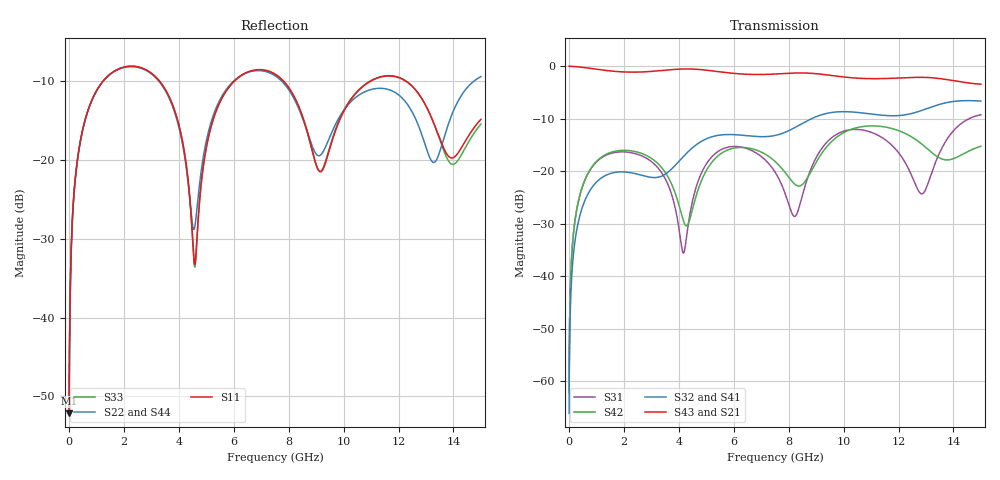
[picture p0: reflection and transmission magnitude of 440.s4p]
! Created with skrf 1.8.0 (http://scikit-rf.org).
# GHz S RI R 50.0
!freq ReS11 ImS11 ReS12 ImS12 ReS13 ImS13
! ReS14 ImS14
! ReS21 ImS21 ReS22 ImS22 ReS23 ImS23
! ReS24 ImS24
! ReS31 ImS31 ReS32 ImS32 ReS33 ImS33
! ReS34 ImS34
! ReS41 ImS41 ReS42 ImS42 ReS43 ImS43
! ReS44 ImS44
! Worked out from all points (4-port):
!   2499 points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, 5 MHz to 15 GHz, reference 50 ohm
!   strongest paths, dB at 5 MHz, 3.476 GHz, 7.19 GHz, 11.1 GHz, 15 GHz:
!     S43: 0.0, -0.8, -1.6, -2.4, -3.4
!     S21: 0.0, -0.8, -1.6, -2.4, -3.4
!     S32: -66.1, -20.7, -13.4, -9.2, -6.7
!     S41: -66.1, -20.7, -13.4, -9.2, -6.7
!     S42: -62.1, -20.0, -16.9, -11.4, -15.3
!     S31: -62.1, -21.2, -18.1, -12.8, -9.3
!   lowest |S11| = -52.2 dB at 5 MHz (marker M1), VSWR 1.00, Z = 50.2 + j0.15 ohm
!   |S11| at or under -10 dB: 3.305 GHz to 6.009 GHz (2.704 GHz wide, 58.1 % of centre); 7.824 GHz to 10.97 GHz (3.147 GHz wide, 33.5 % of centre); 12.28 GHz to end of sweep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
0.005  0.00196 0.00149  0.998 -0.00382  9.95e-05 0.000776  -9.67e-05 -0.000488
       0.998 -0.00382  0.00196 0.00149  -9.67e-05 -0.000488  9.97e-05 0.000776
       9.95e-05 0.000776  -9.67e-05 -0.000488  0.00196 0.00149  0.998 -0.00382
       -9.67e-05 -0.000488  9.97e-05 0.000776  0.998 -0.00382  0.00196 0.00149
0.3126303  0.0327 0.0964  0.9552 -0.2358  0.0148 0.0451  -0.0127 -0.0276
           0.9552 -0.2358  0.0326 0.0964  -0.0127 -0.0276  0.0157 0.0448
           0.0148 0.0451  -0.0127 -0.0276  0.0327 0.0964  0.9552 -0.2358
           -0.0127 -0.0276  0.0157 0.0448  0.9552 -0.2358  0.0326 0.0964
1.369321  0.2897 0.1694  0.5098 -0.7506  0.1289 0.0614  -0.0921 0.000167
          0.5098 -0.7506  0.2868 0.1715  -0.0921 0.000207  0.1369 0.0493
          0.1289 0.0614  -0.0921 0.000207  0.2896 0.1694  0.5099 -0.7506
          -0.0921 0.000167  0.1369 0.0493  0.5099 -0.7506  0.2868 0.1715
4.445602  0.0236 -0.0388  -0.927 -0.143  0.0196 0.0402  -0.0218 0.1611
          -0.927 -0.143  0.0376 -0.0284  -0.0213 0.1612  -0.0253 0.029
          0.0196 0.0402  -0.0213 0.1612  0.0228 -0.0385  -0.927 -0.1431
          -0.0218 0.1611  -0.0253 0.029  -0.927 -0.1431  0.0381 -0.0279
9.141309  0.0831 -0.014  0.8302 0.1232  -0.00593 0.1554  0.0449 -0.3378
          0.8302 0.1232  0.1069 -0.00528  0.0423 -0.3379  -0.0195 0.1384
          -0.00593 0.1554  0.0423 -0.3379  0.0843 -0.0104  0.8303 0.1233
          0.0449 -0.3378  -0.0195 0.1384  0.8303 0.1233  0.1046 -0.0014
12.01751  0.3166 -0.1047  -0.0903 -0.7654  0.1439 -0.036  -0.3236 0.0994
          -0.0903 -0.7654  0.2473 -0.0749  -0.3226 0.1019  0.1174 -0.2122
          0.1439 -0.036  -0.3226 0.1019  0.3173 -0.1068  -0.0873 -0.7653
          -0.3236 0.0994  0.1174 -0.2122  -0.0873 -0.7653  0.2502 -0.0714
15  0.1778 0.0361  -0.5712 0.3552  0.3369 0.0699  0.3057 0.3449
    -0.5712 0.3552  0.3262 0.0921  0.3108 0.3454  0.1294 0.1144
    0.3369 0.0699  0.3108 0.3454  0.1639 0.042  -0.5743 0.3505
    0.3057 0.3449  0.1294 0.1144  -0.5743 0.3505  0.3343 0.0857
